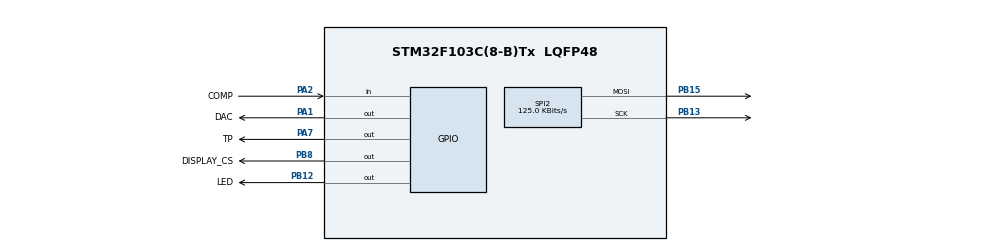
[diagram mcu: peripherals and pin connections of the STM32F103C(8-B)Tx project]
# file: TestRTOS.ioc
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FREERTOS.Tasks01=defaultTask,0,128,StartDefaultTask,Default,NULL,Dynamic,NULL,NULL;converterTask,0,128,StartConverterTask,Default,NULL,Dynamic,NULL,NULL
FREERTOS.configUSE_NEWLIB_REENTRANT=1
Mcu.Family=STM32F1
Mcu.Name=STM32F103C(8-B)Tx
Mcu.Package=LQFP48
NVIC.PriorityGroup=NVIC_PRIORITYGROUP_4
NVIC.TIM1_UP_IRQn=true\:15\:0\:false\:false\:true\:false\:false\:true\:true
NVIC.TIM2_IRQn=true\:5\:0\:true\:false\:true\:false\:true\:true\:true
NVIC.TimeBase=TIM1_UP_IRQn
NVIC.TimeBaseIP=TIM1
PA1.GPIO_Label=DAC
PA1.Signal=GPIO_Output
PA13.Mode=Trace_Asynchronous_SW
PA13.Signal=SYS_JTMS-SWDIO
PA14.Mode=Trace_Asynchronous_SW
PA14.Signal=SYS_JTCK-SWCLK
PA2.GPIO_Label=COMP
PA2.GPIO_PuPd=GPIO_PULLUP
PA2.Signal=GPIO_Input
PA7.GPIO_Label=TP
PA7.Signal=GPIO_Output
PB12.GPIO_Label=LED
PB12.Signal=GPIO_Output
PB13.Mode=TX_Only_Simplex_Unidirect_Master
PB13.Signal=SPI2_SCK
PB15.Mode=TX_Only_Simplex_Unidirect_Master
PB15.Signal=SPI2_MOSI
PB3.Mode=Trace_Asynchronous_SW
PB3.Signal=SYS_JTDO-TRACESWO
PB8.GPIO_Label=DISPLAY_CS
PB8.PinState=GPIO_PIN_SET
PB8.Signal=GPIO_Output
PD0-OSC_IN.Mode=HSE-External-Oscillator
PD0-OSC_IN.Signal=RCC_OSC_IN
PD1-OSC_OUT.Mode=HSE-External-Oscillator
PD1-OSC_OUT.Signal=RCC_OSC_OUT
ProjectManager.HeapSize=0x200
ProjectManager.StackSize=0x400
ProjectManager.TargetToolchain=STM32CubeIDE
RCC.APB1Freq_Value=8000000
RCC.APB2Freq_Value=8000000
SPI2.BaudRatePrescaler=SPI_BAUDRATEPRESCALER_64
SPI2.CLKPolarity=SPI_POLARITY_HIGH
SPI2.CalculateBaudRate=125.0 KBits/s
SPI2.Direction=SPI_DIRECTION_2LINES
SPI2.FirstBit=SPI_FIRSTBIT_LSB
SPI2.Mode=SPI_MODE_MASTER
SPI2.VirtualType=VM_MASTER
TIM2.AutoReloadPreload=TIM_AUTORELOAD_PRELOAD_ENABLE
TIM2.Period=200- 1
TIM2.Prescaler=8 - 1
VP_FREERTOS_VS_CMSIS_V1.Mode=CMSIS_V1
VP_SYS_VS_tim1.Mode=TIM1
VP_TIM2_VS_ClockSourceINT.Mode=Internal
board=custom

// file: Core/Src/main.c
/* USER CODE BEGIN Header */
/**
 ******************************************************************************
 * @file           : main.c
 * @brief          : Main program body
 ******************************************************************************
 * @attention
 *
 * Copyright (c) 2024 STMicroelectronics.
 * All rights reserved.
 *
 * This software is licensed under terms that can be found in the LICENSE file
 * in the root directory of this software component.
 * If no LICENSE file comes with this software, it is provided AS-IS.
 *
 ******************************************************************************
 */
/* USER CODE END Header */
#include "main.h"
#include "cmsis_os.h"

/* USER CODE BEGIN Includes */
#include <stdio.h>
/* USER CODE END Includes */

SPI_HandleTypeDef hspi2;

TIM_HandleTypeDef htim2;

osThreadId defaultTaskHandle;
osThreadId converterTaskHandle;

void SystemClock_Config(void);
static void MX_GPIO_Init(void);
static void MX_TIM2_Init(void);
static void MX_SPI2_Init(void);
void StartDefaultTask(void const *argument);
void StartConverterTask(void const *argument);

int main(void)
{

	/* MCU Configuration--------------------------------------------------------*/

	/* Reset of all peripherals, Initializes the Flash interface and the Systick. */
	HAL_Init();

	/* USER CODE BEGIN Init */

	sigma_delta_hw_operations sdhw = init_sigma_delta_hw();
	init_sigma_delta(sdhw);

	/* USER CODE END Init */

	/* Configure the system clock */
	SystemClock_Config();

	/* Initialize all configured peripherals */
	MX_GPIO_Init();
	MX_TIM2_Init();
	MX_SPI2_Init();
	/* USER CODE BEGIN 2 */
	if (HAL_TIM_Base_Start_IT(&htim2) != HAL_OK)
			{
		/* Starting Error */
		Error_Handler();
	}
	/* USER CODE END 2 */

	/* Create the thread(s) */
	/* definition and creation of defaultTask */
	osThreadDef(defaultTask, StartDefaultTask, osPriorityNormal, 0, 128);
	defaultTaskHandle = osThreadCreate(osThread(defaultTask), NULL);

	/* definition and creation of converterTask */
	osThreadDef(converterTask, StartConverterTask, osPriorityNormal, 0, 128);
	converterTaskHandle = osThreadCreate(osThread(converterTask), NULL);

	/* Start scheduler */
	osKernelStart();

	/* We should never get here as control is now taken by the scheduler */

	/* Infinite loop */
	while (1) {

	}
}

void SystemClock_Config(void)
{
	RCC_OscInitTypeDef RCC_OscInitStruct = { 0 };
	RCC_ClkInitTypeDef RCC_ClkInitStruct = { 0 };

	/** Initializes the RCC Oscillators according to the specified parameters
	 * in the RCC_OscInitTypeDef structure.
	 */
	RCC_OscInitStruct.OscillatorType = RCC_OSCILLATORTYPE_HSI;
	RCC_OscInitStruct.HSIState = RCC_HSI_ON;
	RCC_OscInitStruct.HSICalibrationValue = RCC_HSICALIBRATION_DEFAULT;
	RCC_OscInitStruct.PLL.PLLState = RCC_PLL_NONE;
	if (HAL_RCC_OscConfig(&RCC_OscInitStruct) != HAL_OK)
			{
		Error_Handler();
	}

	/** Initializes the CPU, AHB and APB buses clocks
	 */
	RCC_ClkInitStruct.ClockType = RCC_CLOCKTYPE_HCLK | RCC_CLOCKTYPE_SYSCLK
			| RCC_CLOCKTYPE_PCLK1 | RCC_CLOCKTYPE_PCLK2;
	RCC_ClkInitStruct.SYSCLKSource = RCC_SYSCLKSOURCE_HSI;
	RCC_ClkInitStruct.AHBCLKDivider = RCC_SYSCLK_DIV1;
	RCC_ClkInitStruct.APB1CLKDivider = RCC_HCLK_DIV1;
	RCC_ClkInitStruct.APB2CLKDivider = RCC_HCLK_DIV1;

	if (HAL_RCC_ClockConfig(&RCC_ClkInitStruct, FLASH_LATENCY_0) != HAL_OK)
			{
		Error_Handler();
	}
}

static void MX_SPI2_Init(void)
{

	/* SPI2 parameter configuration*/
	hspi2.Instance = SPI2;
	hspi2.Init.Mode = SPI_MODE_MASTER;
	hspi2.Init.Direction = SPI_DIRECTION_2LINES;
	hspi2.Init.DataSize = SPI_DATASIZE_8BIT;
	hspi2.Init.CLKPolarity = SPI_POLARITY_HIGH;
	hspi2.Init.CLKPhase = SPI_PHASE_1EDGE;
	hspi2.Init.NSS = SPI_NSS_SOFT;
	hspi2.Init.BaudRatePrescaler = SPI_BAUDRATEPRESCALER_64;
	hspi2.Init.FirstBit = SPI_FIRSTBIT_LSB;
	hspi2.Init.TIMode = SPI_TIMODE_DISABLE;
	hspi2.Init.CRCCalculation = SPI_CRCCALCULATION_DISABLE;
	hspi2.Init.CRCPolynomial = 10;
	if (HAL_SPI_Init(&hspi2) != HAL_OK)
			{
		Error_Handler();
	}

}

static void MX_TIM2_Init(void)
{

	TIM_ClockConfigTypeDef sClockSourceConfig = { 0 };
	TIM_MasterConfigTypeDef sMasterConfig = { 0 };

	htim2.Instance = TIM2;
	htim2.Init.Prescaler = 8 - 1;
	htim2.Init.CounterMode = TIM_COUNTERMODE_UP;
	htim2.Init.Period = 200 - 1;
	htim2.Init.ClockDivision = TIM_CLOCKDIVISION_DIV1;
	htim2.Init.AutoReloadPreload = TIM_AUTORELOAD_PRELOAD_ENABLE;
	if (HAL_TIM_Base_Init(&htim2) != HAL_OK)
			{
		Error_Handler();
	}
	sClockSourceConfig.ClockSource = TIM_CLOCKSOURCE_INTERNAL;
	if (HAL_TIM_ConfigClockSource(&htim2, &sClockSourceConfig) != HAL_OK)
			{
		Error_Handler();
	}
	sMasterConfig.MasterOutputTrigger = TIM_TRGO_RESET;
	sMasterConfig.MasterSlaveMode = TIM_MASTERSLAVEMODE_DISABLE;
	if (HAL_TIMEx_MasterConfigSynchronization(&htim2, &sMasterConfig) != HAL_OK)
			{
		Error_Handler();
	}

}

static void MX_GPIO_Init(void)
{
	GPIO_InitTypeDef GPIO_InitStruct = { 0 };

	/* GPIO Ports Clock Enable */
	__HAL_RCC_GPIOD_CLK_ENABLE();
	__HAL_RCC_GPIOA_CLK_ENABLE();
	__HAL_RCC_GPIOB_CLK_ENABLE();

	/*Configure GPIO pin Output Level */
	HAL_GPIO_WritePin(GPIOA, DAC_Pin | TP_Pin, GPIO_PIN_RESET);

	/*Configure GPIO pin Output Level */
	HAL_GPIO_WritePin(LED_GPIO_Port, LED_Pin, GPIO_PIN_RESET);

	/*Configure GPIO pin Output Level */
	HAL_GPIO_WritePin(DISPLAY_CS_GPIO_Port, DISPLAY_CS_Pin, GPIO_PIN_SET);

	/*Configure GPIO pins : DAC_Pin TP_Pin */
	GPIO_InitStruct.Pin = DAC_Pin | TP_Pin;
	GPIO_InitStruct.Mode = GPIO_MODE_OUTPUT_PP;
	GPIO_InitStruct.Pull = GPIO_NOPULL;
	GPIO_InitStruct.Speed = GPIO_SPEED_FREQ_LOW;
	HAL_GPIO_Init(GPIOA, &GPIO_InitStruct);

	/*Configure GPIO pin : COMP_Pin */
	GPIO_InitStruct.Pin = COMP_Pin;
	GPIO_InitStruct.Mode = GPIO_MODE_INPUT;
	GPIO_InitStruct.Pull = GPIO_PULLUP;
	HAL_GPIO_Init(COMP_GPIO_Port, &GPIO_InitStruct);

	/*Configure GPIO pins : LED_Pin DISPLAY_CS_Pin */
	GPIO_InitStruct.Pin = LED_Pin | DISPLAY_CS_Pin;
	GPIO_InitStruct.Mode = GPIO_MODE_OUTPUT_PP;
	GPIO_InitStruct.Pull = GPIO_NOPULL;
	GPIO_InitStruct.Speed = GPIO_SPEED_FREQ_LOW;
	HAL_GPIO_Init(GPIOB, &GPIO_InitStruct);

}

/* USER CODE BEGIN 4 */
int _write(int file, char *ptr, int len) {
	(void) file;
	int DataIdx;

	for (DataIdx = 0; DataIdx < len; DataIdx++) {
		ITM_SendChar(*ptr++);
	}
	return len;
}
/* USER CODE END 4 */

void StartDefaultTask(void const *argument)
{
	/* USER CODE BEGIN 5 */
	for (;;) {
		vTaskResume(converterTaskHandle);
		while (!get_sigma_delta().ended()) {
			osDelay(100);
		}
		HAL_GPIO_WritePin(GPIOB, LED_Pin, GPIO_PIN_RESET);
		osDelay(30);
		HAL_GPIO_WritePin(GPIOB, LED_Pin, GPIO_PIN_SET);
		int v = 3240 * get_sigma_delta().raw_result() >> 10;
//		printf("v = %dmV\r\n", v);
		HAL_GPIO_WritePin(DISPLAY_CS_GPIO_Port, DISPLAY_CS_Pin, GPIO_PIN_RESET);
		uint8_t data[] = { 0x00, 0x00, 0x01, 0x00, 0b00100110 };
		HAL_SPI_Transmit(&hspi2, data, 5, 100);
		HAL_GPIO_WritePin(DISPLAY_CS_GPIO_Port, DISPLAY_CS_Pin, GPIO_PIN_SET);
		osDelay(20);
	}
	/* USER CODE END 5 */
}

void StartConverterTask(void const *argument)
{
	/* USER CODE BEGIN StartConverterTask */
	/* Infinite loop */
	while (1) {
		vTaskSuspend(NULL);
		taskENTER_CRITICAL();
		sigma_delta_operations sd = get_sigma_delta();
		sd.start_conversion();
		while (!sd.ended())
			get_sigma_delta().tick();
		taskEXIT_CRITICAL();
	}
	/* USER CODE END StartConverterTask */
}

void HAL_TIM_PeriodElapsedCallback(TIM_HandleTypeDef *htim)
{
	if (htim->Instance == TIM1) {
		HAL_IncTick();
	}
}

void Error_Handler(void)
{
	__disable_irq();
	while (1) {
	}
}
